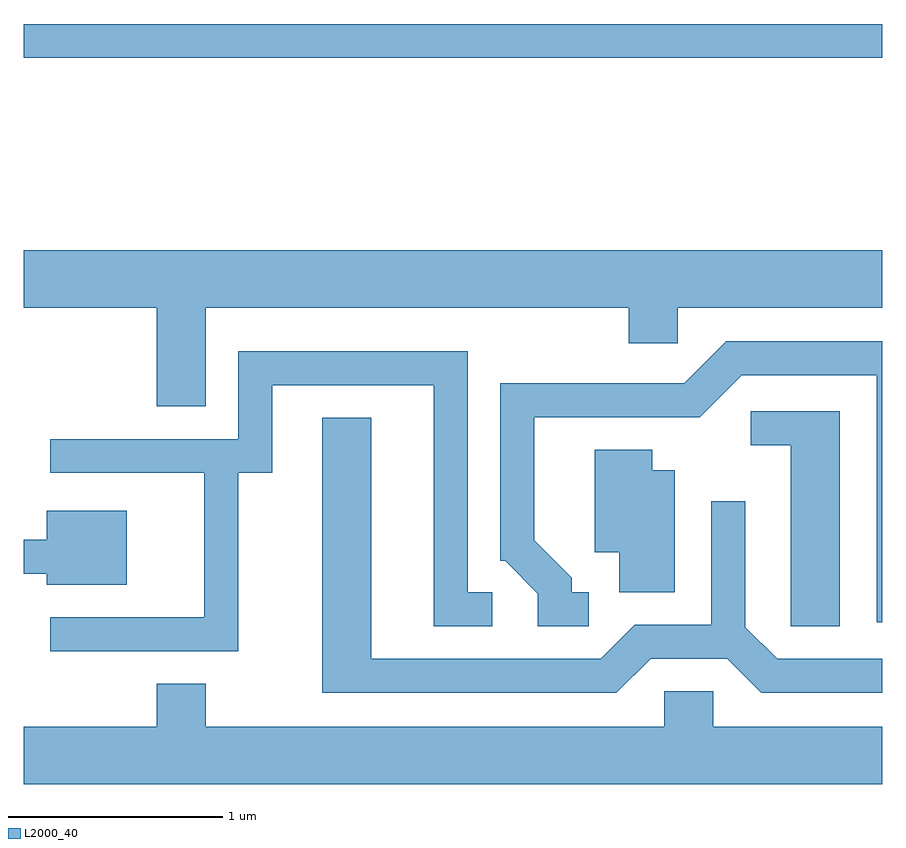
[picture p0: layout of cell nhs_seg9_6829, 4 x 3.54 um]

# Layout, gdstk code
import gdstk
lib = gdstk.Library(unit=1e-6, precision=1e-09)
def R(c, l, rs):  # rectangles x0, y0, x1, y1
    for r in rs: c.add(gdstk.rectangle(r[:2], r[2:], *l))
def P(c, l, *ps):  # polygons
    for p in ps: c.add(gdstk.Polygon(p, *l))
L2000_40 = (2000, 40)

nhs_seg9_6829 = lib.new_cell('nhs_seg9_6829')
R(nhs_seg9_6829, L2000_40, [(387.611,1964.121,391.611,1964.279)])
P(nhs_seg9_6829, L2000_40, [(388.459,1962.956),(390.431,1962.956),(390.431,1962.791),(390.659,1962.791),(390.659,1962.956),(391.611,1962.956),(391.611,1963.224),(387.611,1963.224),(387.611,1962.956),(388.231,1962.956),(388.231,1962.496),(388.459,1962.496)],
  [(390.243,1961.629),(390.164,1961.629),(390.164,1961.697),(389.989,1961.872),(389.989,1962.446),(390.762,1962.446),(390.957,1962.641),(391.586,1962.641),(391.586,1961.491),(391.611,1961.491),(391.611,1962.799),(390.884,1962.799),(390.689,1962.604),(389.831,1962.604),(389.831,1961.776),(389.854,1961.776),(390.006,1961.624),(390.006,1961.471),(390.243,1961.471)],
  [(388.609,1962.186),(388.769,1962.186),(388.769,1962.596),(389.521,1962.596),(389.521,1961.471),(389.793,1961.471),(389.793,1961.629),(389.679,1961.629),(389.679,1962.754),(388.611,1962.754),(388.611,1962.344),(387.733,1962.344),(387.733,1962.186),(388.451,1962.186),(388.451,1961.514),(387.733,1961.514),(387.733,1961.356),(388.609,1961.356)],
  [(391.414,1962.474),(390.998,1962.474),(390.998,1962.316),(391.186,1962.316),(391.186,1961.471),(391.414,1961.471)],
  [(390.532,1961.321),(390.889,1961.321),(391.049,1961.161),(391.611,1961.161),(391.611,1961.319),(391.122,1961.319),(390.974,1961.467),(390.974,1962.053),(390.816,1962.053),(390.816,1961.479),(390.459,1961.479),(390.299,1961.319),(389.229,1961.319),(389.229,1962.444),(389.001,1962.444),(389.001,1961.161),(390.372,1961.161)],
  [(390.644,1962.199),(390.539,1962.199),(390.539,1962.294),(390.271,1962.294),(390.271,1961.816),(390.386,1961.816),(390.386,1961.631),(390.644,1961.631)],
  [(388.089,1962.009),(387.716,1962.009),(387.716,1961.874),(387.611,1961.874),(387.611,1961.716),(387.716,1961.716),(387.716,1961.666),(388.089,1961.666)],
  [(391.611,1961.004),(390.824,1961.004),(390.824,1961.169),(390.596,1961.169),(390.596,1961.004),(388.459,1961.004),(388.459,1961.204),(388.231,1961.204),(388.231,1961.004),(387.611,1961.004),(387.611,1960.736),(391.611,1960.736)])

lib.write_gds('nhs_seg9_6829.gds')
